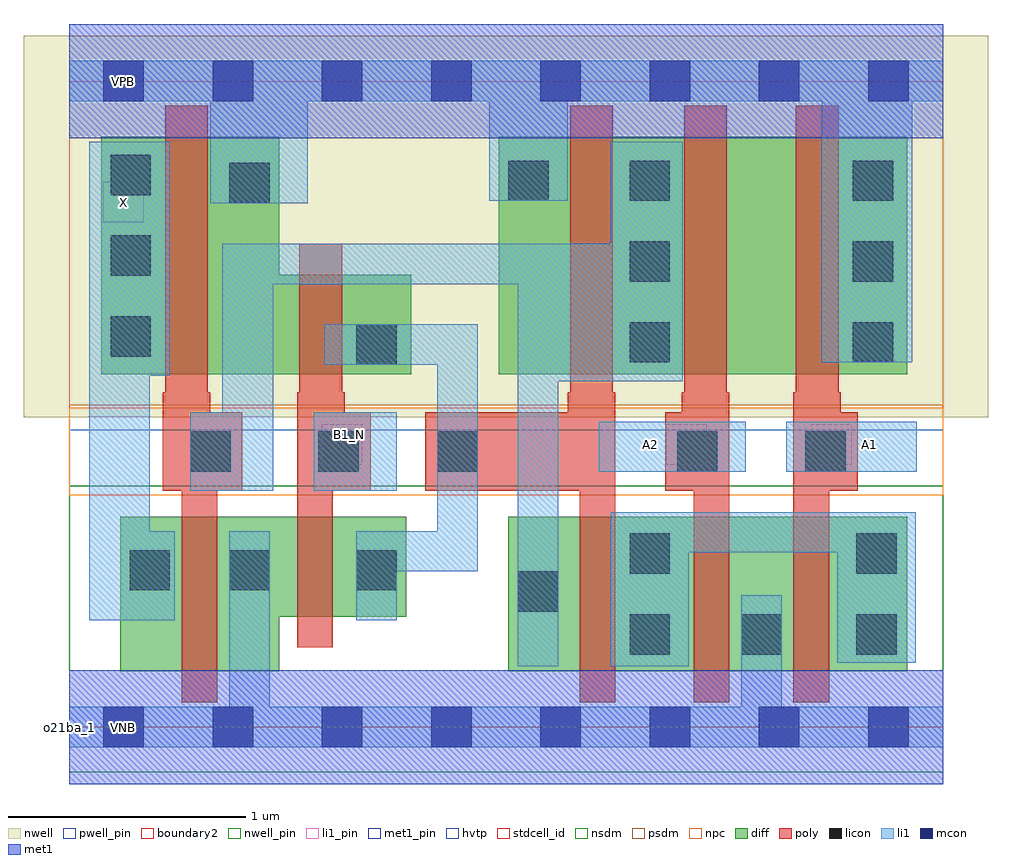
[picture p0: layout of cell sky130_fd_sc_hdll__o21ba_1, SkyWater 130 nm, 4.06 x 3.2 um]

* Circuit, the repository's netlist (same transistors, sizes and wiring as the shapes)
* Copyright 2020 The SkyWater PDK Authors
*
* Licensed under the Apache License, Version 2.0 (the "License");
* you may not use this file except in compliance with the License.
* You may obtain a copy of the License at
*
*     https://www.apache.org/licenses/LICENSE-2.0
*
* Unless required by applicable law or agreed to in writing, software
* distributed under the License is distributed on an "AS IS" BASIS,
* WITHOUT WARRANTIES OR CONDITIONS OF ANY KIND, either express or implied.
* See the License for the specific language governing permissions and
* limitations under the License.
*
* SPDX-License-Identifier: Apache-2.0

.SUBCKT sky130_fd_sc_hdll__o21ba_1 A1 A2 B1_N VGND VNB VPB VPWR X
*.PININFO A1:I A2:I B1_N:I VGND:I VNB:I VPB:I VPWR:I X:O
MMPA0 VPWR A1 sndA1 VPB sky130_fd_pr__pfet_01v8_hvt m=1 w=1.0U l=0.18U mult=1 sa=0.265
+ sb=0.265 sd=0.28 area=0.063 perim=1.14
MMPA1 sndA1 A2 y VPB sky130_fd_pr__pfet_01v8_hvt m=1 w=1.0U l=0.18U mult=1 sa=0.265
+ sb=0.265 sd=0.28 area=0.063 perim=1.14
MMPB0 VPWR B1 y VPB sky130_fd_pr__pfet_01v8_hvt m=1 w=1.0U l=0.18U mult=1 sa=0.265
+ sb=0.265 sd=0.28 area=0.063 perim=1.14
MMIPB1N B1 B1_N VPWR VPB sky130_fd_pr__pfet_01v8_hvt m=1 w=0.42U l=0.18U mult=1
+ sa=0.265 sb=0.265 sd=0.28 area=0.063 perim=1.14
MMIPX X y VPWR VPB sky130_fd_pr__pfet_01v8_hvt m=1 w=1.0U l=0.18U mult=1 sa=0.265
+ sb=0.265 sd=0.28 area=0.063 perim=1.14
MMNA0 pndA A1 VGND VNB sky130_fd_pr__nfet_01v8 m=1 w=0.65U l=0.15U mult=1 sa=0.265
+ sb=0.265 sd=0.28 area=0.063 perim=1.14
MMNA1 pndA A2 VGND VNB sky130_fd_pr__nfet_01v8 m=1 w=0.65U l=0.15U mult=1 sa=0.265
+ sb=0.265 sd=0.28 area=0.063 perim=1.14
MMNB0 y B1 pndA VNB sky130_fd_pr__nfet_01v8 m=1 w=0.65U l=0.15U mult=1 sa=0.265
+ sb=0.265 sd=0.28 area=0.063 perim=1.14
MMINB1N B1 B1_N VGND VNB sky130_fd_pr__nfet_01v8 m=1 w=0.42U l=0.15U mult=1 sa=0.265
+ sb=0.265 sd=0.28 area=0.063 perim=1.14
MMINX X y VGND VNB sky130_fd_pr__nfet_01v8 m=1 w=0.65U l=0.15U mult=1 sa=0.265
+ sb=0.265 sd=0.28 area=0.063 perim=1.14
.ENDS sky130_fd_sc_hdll__o21ba_1

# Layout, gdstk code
import gdstk
lib = gdstk.Library(unit=1e-6, precision=1e-09)
def R(c, l, rs):  # rectangles x0, y0, x1, y1
    for r in rs: c.add(gdstk.rectangle(r[:2], r[2:], *l))
def A(c, l, x, y, w, h, nx, ny, dx, dy):  # array of equal rectangles
    R(c, l, [(x+i*dx, y+j*dy, x+i*dx+w, y+j*dy+h) for i in range(nx) for j in range(ny)])
def P(c, l, *ps):  # polygons
    for p in ps: c.add(gdstk.Polygon(p, *l))
nwell_pin = (64, 16)
nwell = (64, 20)
diff = (65, 20)
poly = (66, 20)
licon = (66, 44)
li1_pin = (67, 16)
li1 = (67, 20)
mcon = (67, 44)
met1_pin = (68, 16)
met1 = (68, 20)
hvtp = (78, 44)
stdcell_id = (81, 4)
nsdm = (93, 44)
psdm = (94, 20)
npc = (95, 20)
pwell_pin = (122, 16)
boundary2 = (236, 0)

sky130_fd_sc_hdll__o21ba = lib.new_cell('sky130_fd_sc_hdll__o21ba_1')
R(sky130_fd_sc_hdll__o21ba, nwell_pin, [(0.145,2.635,0.315,2.805)])
R(sky130_fd_sc_hdll__o21ba, nwell, [(-0.19,1.305,3.87,2.91)])
R(sky130_fd_sc_hdll__o21ba, diff, [(1.85,0.235,3.53,0.885), (1.81,1.485,3.53,2.485)])
P(sky130_fd_sc_hdll__o21ba, diff, [(1.42,0.885),(0.215,0.885),(0.215,0.235),(0.885,0.235),(0.885,0.465),(1.42,0.465)],
  [(1.44,1.905),(0.885,1.905),(0.885,2.485),(0.135,2.485),(0.135,1.485),(1.44,1.485)])
P(sky130_fd_sc_hdll__o21ba, poly, [(0.73,1.325),(0.595,1.325),(0.595,1.41),(0.585,1.41),(0.585,2.615),(0.405,2.615),(0.405,1.41),(0.395,1.41),(0.395,0.995),(0.475,0.995),(0.475,0.105),(0.625,0.105),(0.625,0.995),(0.73,0.995)],
  [(1.27,1.325),(1.16,1.325),(1.16,1.41),(1.15,1.41),(1.15,2.035),(0.97,2.035),(0.97,1.41),(0.96,1.41),(0.96,0.335),(1.11,0.335),(1.11,0.995),(1.27,0.995)],
  [(2.3,1.41),(2.29,1.41),(2.29,2.615),(2.11,2.615),(2.11,1.41),(2.1,1.41),(2.1,1.325),(1.5,1.325),(1.5,0.995),(2.15,0.995),(2.15,0.105),(2.3,0.105)],
  [(2.78,1.41),(2.77,1.41),(2.77,2.615),(2.59,2.615),(2.59,1.41),(2.58,1.41),(2.58,1.325),(2.51,1.325),(2.51,0.995),(2.63,0.995),(2.63,0.105),(2.78,0.105)],
  [(3.32,1.325),(3.25,1.325),(3.25,1.41),(3.24,1.41),(3.24,2.615),(3.06,2.615),(3.06,1.41),(3.05,1.41),(3.05,0.105),(3.2,0.105),(3.2,0.995),(3.32,0.995)])
A(sky130_fd_sc_hdll__o21ba, licon, 2.36, 1.535, 0.17, 0.17, 1, 3, 0, 0.34)
A(sky130_fd_sc_hdll__o21ba, licon, 3.3, 1.535, 0.17, 0.17, 1, 3, 0, 0.34)
A(sky130_fd_sc_hdll__o21ba, licon, 0.175, 1.56, 0.17, 0.17, 1, 3, 0, 0.34)
R(sky130_fd_sc_hdll__o21ba, licon, [(2.36,0.305,2.53,0.475), (2.83,0.305,3,0.475), (3.315,0.305,3.485,0.475), (1.89,0.485,2.06,0.655), (0.255,0.575,0.425,0.745), (0.675,0.575,0.845,0.745), (1.21,0.575,1.38,0.745), (2.36,0.645,2.53,0.815), (3.315,0.645,3.485,0.815), (0.51,1.075,0.68,1.245), (1.05,1.075,1.22,1.245), (1.55,1.075,1.72,1.245), (2.56,1.075,2.73,1.245), (3.1,1.075,3.27,1.245), (1.21,1.525,1.38,1.695), (0.675,2.205,0.845,2.375), (1.85,2.215,2.02,2.385)])
R(sky130_fd_sc_hdll__o21ba, li1_pin, [(1.065,1.105,1.235,1.275), (2.515,1.105,2.685,1.275), (3.125,1.105,3.295,1.275), (0.145,2.125,0.315,2.295)])
R(sky130_fd_sc_hdll__o21ba, li1, [(1.03,0.995,1.38,1.325), (2.23,1.075,2.85,1.285), (3.02,1.075,3.57,1.285)])
P(sky130_fd_sc_hdll__o21ba, li1, [(0.425,2.465),(0.085,2.465),(0.085,0.45),(0.445,0.45),(0.445,0.825),(0.34,0.825),(0.34,1.48),(0.425,1.48)],
  [(3.68,0.085),(3,0.085),(3,0.555),(2.83,0.555),(2.83,0.085),(0.845,0.085),(0.845,0.825),(0.675,0.825),(0.675,0.085),(0,0.085),(0,-0.085),(3.68,-0.085)],
  [(3.68,2.805),(0,2.805),(0,2.635),(0.595,2.635),(0.595,2.205),(1.005,2.205),(1.005,2.635),(1.77,2.635),(1.77,2.215),(2.1,2.215),(2.1,2.635),(3.17,2.635),(3.17,1.535),(3.55,1.535),(3.55,2.635),(3.68,2.635)],
  [(1.72,1.695),(1.075,1.695),(1.075,1.525),(1.55,1.525),(1.55,0.825),(1.21,0.825),(1.21,0.45),(1.38,0.45),(1.38,0.655),(1.72,0.655)],
  [(2.585,2.465),(2.28,2.465),(2.28,2.035),(0.645,2.035),(0.645,1.325),(0.51,1.325),(0.51,0.995),(0.86,0.995),(0.86,1.865),(1.89,1.865),(1.89,0.255),(2.06,0.255),(2.06,1.455),(2.585,1.455)],
  [(3.565,0.905),(2.28,0.905),(2.28,0.255),(2.61,0.255),(2.61,0.735),(3.235,0.735),(3.235,0.27),(3.565,0.27)])
A(sky130_fd_sc_hdll__o21ba, mcon, 0.145, -0.085, 0.17, 0.17, 8, 2, 0.46, 2.72)
R(sky130_fd_sc_hdll__o21ba, met1_pin, [(0.145,-0.085,0.315,0.085), (0.145,2.635,0.315,2.805)])
R(sky130_fd_sc_hdll__o21ba, met1, [(0,-0.24,3.68,0.24), (0,2.48,3.68,2.96)])
R(sky130_fd_sc_hdll__o21ba, hvtp, [(0,1.25,3.68,2.72)])
R(sky130_fd_sc_hdll__o21ba, stdcell_id, [(0,0,3.68,2.72)])
R(sky130_fd_sc_hdll__o21ba, nsdm, [(0,-0.19,3.68,1.015)])
R(sky130_fd_sc_hdll__o21ba, psdm, [(0,1.355,3.68,2.91)])
R(sky130_fd_sc_hdll__o21ba, npc, [(0,0.975,3.68,1.345)])
R(sky130_fd_sc_hdll__o21ba, pwell_pin, [(0.145,-0.085,0.315,0.085)])
R(sky130_fd_sc_hdll__o21ba, boundary2, [(0,0,3.68,2.72)])
sky130_fd_sc_hdll__o21ba.add(gdstk.Label('B1_N', (1.18,1.23), layer=67, texttype=5))
sky130_fd_sc_hdll__o21ba.add(gdstk.Label('A1', (3.37,1.19), layer=67, texttype=5))
sky130_fd_sc_hdll__o21ba.add(gdstk.Label('X', (0.23,2.21), layer=67, texttype=5))
sky130_fd_sc_hdll__o21ba.add(gdstk.Label('A2', (2.45,1.19), layer=67, texttype=5))
sky130_fd_sc_hdll__o21ba.add(gdstk.Label('VNB', (0.23,0), layer=64, texttype=59))
sky130_fd_sc_hdll__o21ba.add(gdstk.Label('VPB', (0.23,2.72), layer=64, texttype=5))
sky130_fd_sc_hdll__o21ba.add(gdstk.Label('VGND', (0.23,0), layer=68, texttype=5))
sky130_fd_sc_hdll__o21ba.add(gdstk.Label('VPWR', (0.23,2.72), layer=68, texttype=5))
sky130_fd_sc_hdll__o21ba.add(gdstk.Label('o21ba_1', (0,0), layer=83, texttype=44))

lib.write_gds('sky130_fd_sc_hdll__o21ba_1.gds')
